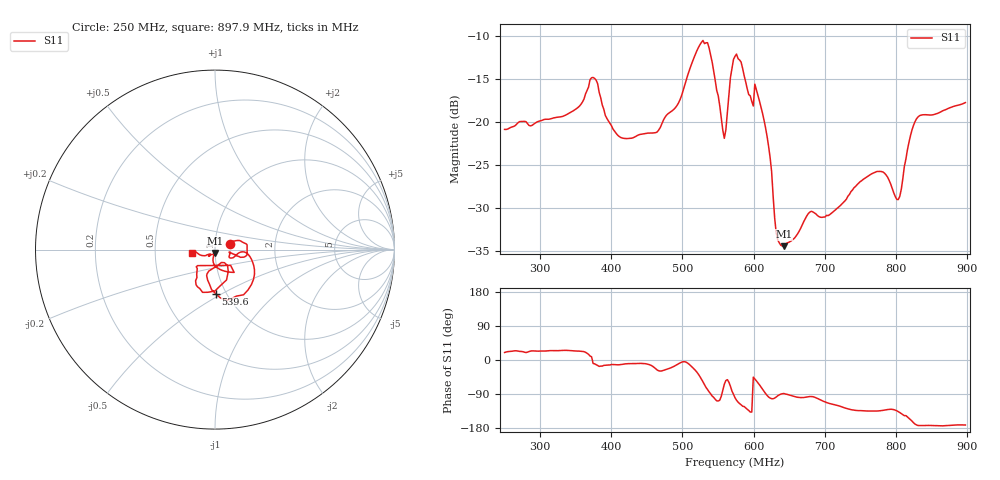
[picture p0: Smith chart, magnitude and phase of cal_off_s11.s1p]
!Created with skrf (http://scikit-rf.org).
# Hz S RI R 50.0
!freq ReS11 ImS11
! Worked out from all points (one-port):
!   303 points, 250 MHz to 897.9 MHz, reference 50 ohm
!   lowest |S11| = -34.5 dB at 642.6 MHz (marker M1), VSWR 1.04, Z = 50 - j1.89 ohm
!   |S11| at or under -10 dB: start of sweep to end of sweep
!   S11 on the Smith chart (normalised r, x): 250 MHz: 1.18, +0.07; 539.6 MHz: 0.89, -0.47; 897.9 MHz: 0.77, -0.03
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2.5e8  0.0851 0.0306
3.3152e8  0.0973 0.0461
3.7442e8  0.1791 -0.0286
4.1304e8  0.0795 -0.0171
4.6452e8  0.0783 -0.0389
4.9455e8  0.1272 -0.0221
5.2244e8  0.2149 -0.1646
5.396e8  0.00412 -0.2457
5.5891e8  0.0352 -0.0721
5.6749e8  0.0642 -0.1691
5.7393e8  -0.0395 -0.2377
5.9538e8  -0.1045 -0.096
5.9752e8  -0.0966 -0.0892
5.9967e8  0.0871 -0.0879
6.0181e8  0.1066 -0.1272
6.0825e8  0.0553 -0.1205
6.2327e8  -0.0113 -0.061
6.3185e8  -0.00304 -0.0225
6.4257e8  0.000502 -0.0189
6.5544e8  -0.00194 -0.0206
6.7904e8  -0.00337 -0.0297
7.0478e8  -0.0114 -0.0261
7.3696e8  -0.0258 -0.0297
7.7987e8  -0.0353 -0.0373
8.0346e8  -0.0255 -0.0244
8.1848e8  -0.0681 -0.0336
8.335e8  -0.108 -0.0133
8.9785e8  -0.1282 -0.0191
